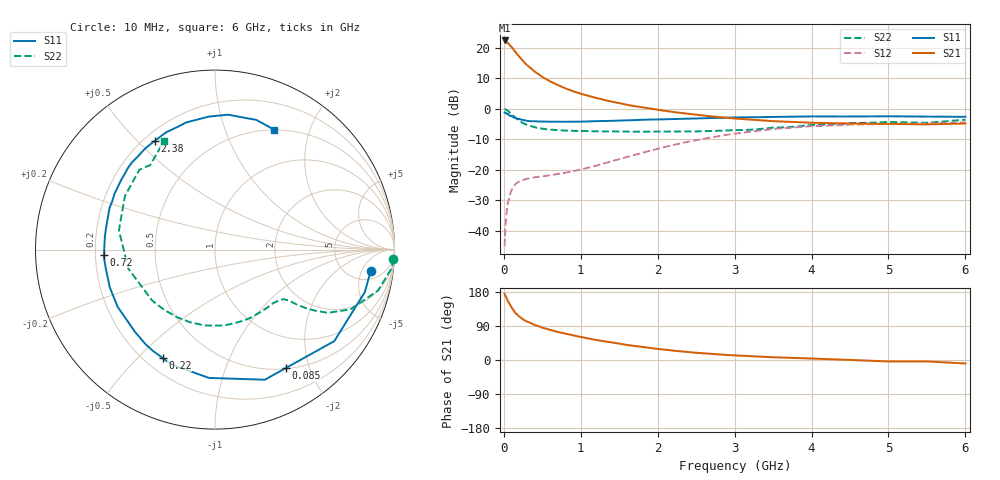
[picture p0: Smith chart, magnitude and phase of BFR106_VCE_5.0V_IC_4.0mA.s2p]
! Infineon Technologies  Discrete & RF Semiconductors
! BFR106
! VCE =  5.0 V,  IC =  4.0 mA
! Common Emitter S-Parameters:  Nov 2015
# GHz  S  MA  R  50
!  f  S11  S21  S12  S22
! GHz  MAG  ANG  MAG  ANG  MAG  ANG  MAG  ANG
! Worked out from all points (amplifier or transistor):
!   210 points, 10 MHz to 6 GHz, reference 50 ohm
!   highest |S21| = 22.5 dB at 10 MHz (marker M1)
!   |S21| within 3 dB of that: start of sweep to 126.4 MHz
!   unconditionally stable (mu >= 1): 674.4 MHz to 1.846 GHz; 4.558 GHz to end of sweep
!   at 185 MHz: K = 0.34, MSG = 20.8 dB, |S12| = -24.0 dB
!   at 1.52 GHz: K = 1.12, MAG = 7.0 dB, |S12| = -16.3 dB
!   at 6 GHz: K = 1.02, MAG = -1.1 dB, |S12| = -4.4 dB
!   S11 on the Smith chart (normalised r, x): 10 MHz: 7, -7; 85 MHz: 0.51, -1.64; 220 MHz: 0.27, -0.59; 720 MHz: 0.24, -0.02; 2.38 GHz: 0.24, +0.57; 6 GHz: 0.50, +1.49
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0.01  0.8754 -7.9  13.31 174.3  0.0056 86.8  0.9949 -3.0
0.02  0.8678 -15.8  13.14 170.3  0.0114 80.8  0.9898 -6.0
0.05  0.8378 -37.5  12.22 156.1  0.0275 70.5  0.9373 -14.0
0.085  0.7688 -59.2  10.89 144.2  0.0409 59.3  0.8562 -20.6
0.1  0.7762 -69.1  10.49 138.3  0.0469 56.5  0.8254 -23.8
0.15  0.7157 -92.7  8.614 123.9  0.0585 47.1  0.72 -29.3
0.2  0.6849 -110.5  7.225 114.7  0.065 41.7  0.6437 -31.7
0.22  0.6706 -115.8  6.765 111.8  0.0665 40.3  0.62 -32.3
0.26  0.6546 -126.0  5.939 105.8  0.0692 38.2  0.5771 -33.3
0.3  0.6396 -134.1  5.258 101.4  0.0714 37.3  0.5477 -33.9
0.4  0.6293 -149.5  4.111 92.6  0.0755 36.6  0.4998 -34.6
0.5  0.6229 -160.3  3.348 85.3  0.078 37.7  0.4733 -35.7
0.6  0.6176 -169.0  2.844 79.3  0.0819 40.1  0.4582 -37.6
0.72  0.6193 -177.4  2.412 73.1  0.086 44.0  0.447 -40.5
1.02  0.6202 166.6  1.749 59.9  0.1027 53.7  0.4344 -48.8
1.4  0.6406 151.0  1.318 46.4  0.138 62.5  0.4285 -62.5
2.02  0.6734 129.9  0.962 28.9  0.2256 64.3  0.4235 -89.4
2.38  0.693 118.8  0.84 21.0  0.2873 60.8  0.4271 -107.8
3.1  0.7277 100.7  0.684 11.1  0.4075 47.8  0.4512 -146.5
4.1  0.7538 83.2  0.59 3.2  0.5265 26.9  0.5482 164.6
5.1  0.7561 71.4  0.567 -3.8  0.57 9.9  0.6084 132.3
6  0.7432 63.6  0.577 -9.2  0.6034 -1.6  0.6668 115.2
